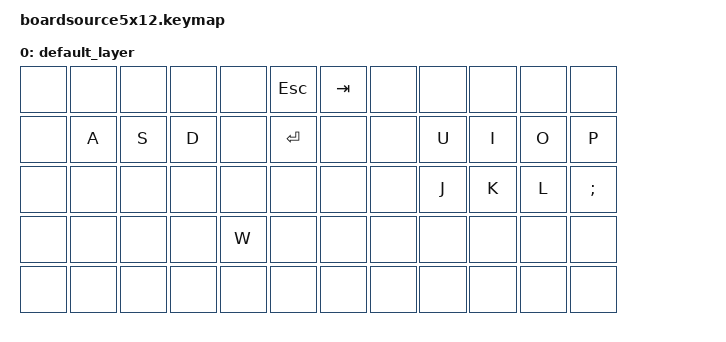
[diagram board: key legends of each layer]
 /*
 * Copyright (c) 2021 The ZMK Contributors
 *
 * SPDX-License-Identifier: MIT
 */
#include <behaviors.dtsi>
#include <dt-bindings/zmk/keys.h>

/ {
    keymap {
        compatible = "zmk,keymap";
        
        default_layer {  
        // ---------------------------------------------------------------------------------------------------------------------------------
        // |         |          |          |          |          |  ESC    |  TAB    |         |          |          |          |          |
        // |         |   LEFT   |   DOWN   |  RIGHT   |          |  ENTER  |         |         |  LIGHT   |  MEDIUM  |  THROW   |  SKILL   |
        // |         |          |          |          |          |         |         |         |  UNIQUE  |  HEAVY   |   DASH   |  BLOCK   |
        // |         |          |          |          |    UP    |         |         |         |          |          |          |          |
        // ---------------------------------------------------------------------------------------------------------------------------------
            bindings = <
                &none    &none    &none    &none    &none     &kp ESC   &kp TAB   &none    &none     &none     &none     &none
                &none    &kp A    &kp S    &kp D    &none     &kp ENTER &none     &none    &kp U     &kp I     &kp O     &kp P
                &none    &none    &none    &none    &none     &none     &none     &none    &kp J     &kp K     &kp L     &kp SEMI
                &none    &none    &none    &none    &kp W     &none     &none     &none    &none     &none     &none     &none
                &none    &none    &none    &none    &none     &none     &none     &none    &none     &none     &none     &none
            >;
        };
    };
};




